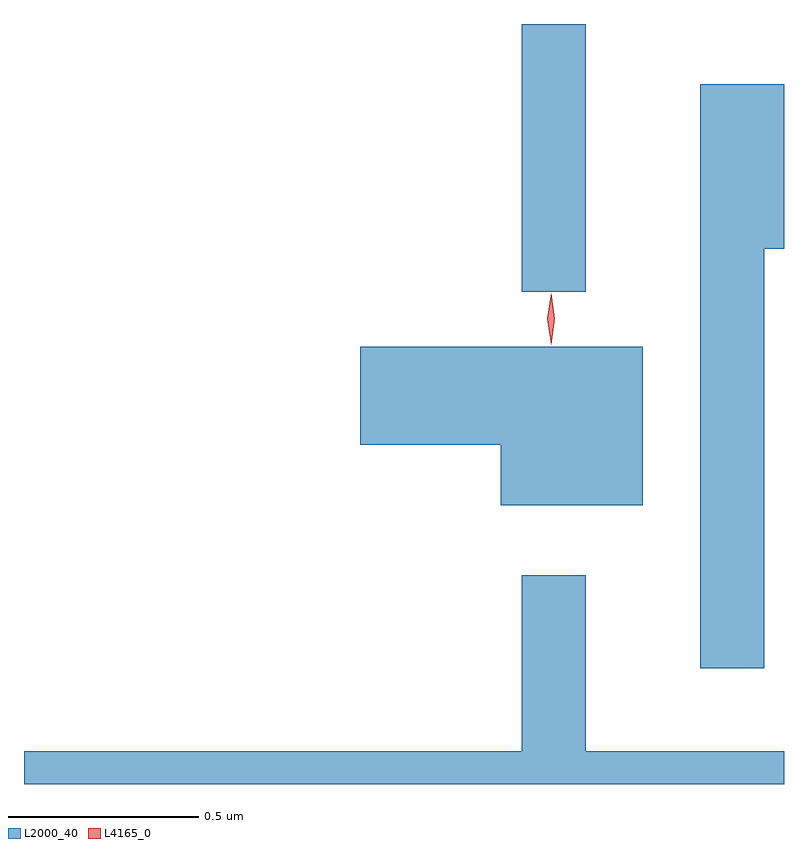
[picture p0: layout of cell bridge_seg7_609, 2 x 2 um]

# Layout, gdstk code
import gdstk
lib = gdstk.Library(unit=1e-6, precision=1e-09)
def R(c, l, rs):  # rectangles x0, y0, x1, y1
    for r in rs: c.add(gdstk.rectangle(r[:2], r[2:], *l))
def P(c, l, *ps):  # polygons
    for p in ps: c.add(gdstk.Polygon(p, *l))
L2000_40 = (2000, 40)
L4165_0 = (4165, 0)

bridge_seg7_609 = lib.new_cell('bridge_seg7_609')
R(bridge_seg7_609, L2000_40, [(692.281,1797.933,692.449,1798.638)])
P(bridge_seg7_609, L2000_40, [(692.919,1798.046),(692.971,1798.046),(692.971,1798.479),(692.751,1798.479),(692.751,1796.943),(692.919,1796.943)],
  [(692.599,1797.789),(691.856,1797.789),(691.856,1797.531),(692.226,1797.531),(692.226,1797.371),(692.599,1797.371)],
  [(692.971,1796.724),(692.449,1796.724),(692.449,1797.188),(692.281,1797.188),(692.281,1796.724),(690.971,1796.724),(690.971,1796.638),(692.971,1796.638)])
P(bridge_seg7_609, L4165_0, [(692.358,1797.794),(692.358,1797.794),(692.348,1797.862),(692.358,1797.93),(692.358,1797.93),(692.359,1797.93),(692.368,1797.862),(692.359,1797.794)],
  [(692.358,1797.8),(692.358,1797.8),(692.348,1797.863),(692.358,1797.926),(692.358,1797.927),(692.359,1797.926),(692.368,1797.863),(692.359,1797.8)])

lib.write_gds('bridge_seg7_609.gds')
